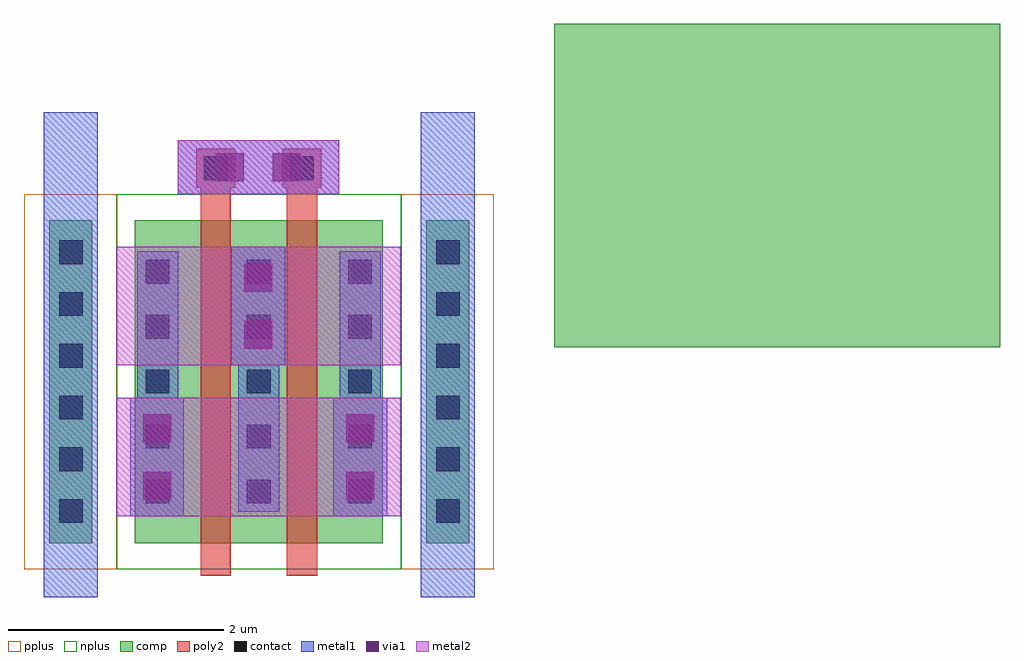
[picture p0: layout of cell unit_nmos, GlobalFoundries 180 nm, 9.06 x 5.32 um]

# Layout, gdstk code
from math import pi, radians
import gdstk
lib = gdstk.Library(unit=1e-6, precision=1e-09)
def R(c, l, rs):  # rectangles x0, y0, x1, y1
    for r in rs: c.add(gdstk.rectangle(r[:2], r[2:], *l))
def A(c, l, x, y, w, h, nx, ny, dx, dy):  # array of equal rectangles
    R(c, l, [(x+i*dx, y+j*dy, x+i*dx+w, y+j*dy+h) for i in range(nx) for j in range(ny)])
comp = (22, 0)
poly2 = (30, 0)
pplus = (31, 0)
nplus = (32, 0)
contact = (33, 0)
metal1 = (34, 0)
via1 = (35, 0)
metal2 = (36, 0)

via_dev_1 = lib.new_cell('via_dev$1')
R(via_dev_1, comp, [(0,0,3,0.4)])
A(via_dev_1, contact, 0.19, 0.09, 0.22, 0.22, 6, 1, 0.48, 0)
R(via_dev_1, metal1, [(0,0,3,0.4)])

via_dev_2 = lib.new_cell('via_dev$2')
R(via_dev_2, metal1, [(0,0,0.5,1.1)])
R(via_dev_2, via1, [(0.12,0.155,0.38,0.415), (0.12,0.685,0.38,0.945)])
R(via_dev_2, metal2, [(0,0,0.5,1.1)])

via_dev = lib.new_cell('via_dev')
R(via_dev, metal1, [(0,0,1.5,0.5)])
R(via_dev, via1, [(0.355,0.12,0.615,0.38), (0.885,0.12,1.145,0.38)])
R(via_dev, metal2, [(0,0,1.5,0.5)])

nfet = lib.new_cell('nfet')
R(nfet, comp, [(-0.42,0,0,3), (0,0,1.46,3), (1.46,0,1.88,3)])
R(nfet, poly2, [(0.19,-0.3,0.47,3.3), (0.99,-0.3,1.27,3.3), (0.15,3.3,0.51,3.66), (0.95,3.3,1.31,3.66)])
R(nfet, nplus, [(-0.59,-0.24,2.05,3.24)])
A(nfet, contact, -0.32, 0.37, 0.22, 0.22, 3, 5, 0.94, 0.51)
R(nfet, contact, [(0.22,3.37,0.44,3.59), (1.02,3.37,1.24,3.59)])
A(nfet, metal1, -0.4, 0.29, 0.38, 2.42, 3, 1, 0.94, 0)
R(nfet, metal1, [(0.14,3.289,0.52,3.671), (0.94,3.289,1.32,3.671)])

unit_nmos = lib.new_cell('unit_nmos')
R(unit_nmos, comp, [(2.735,1.82,6.875,4.82)])
R(unit_nmos, pplus, [(-2.185,-0.24,-1.325,3.24), (1.315,-0.24,2.175,3.24)])
unit_nmos.add(gdstk.FlexPath([(1.75,-0.5),(1.75,4)], 0.5, ends="flush", simple_path=True, layer=34, datatype=0))  # metal1
unit_nmos.add(gdstk.FlexPath([(-1.75,-0.5),(-1.75,4)], 0.5, ends="flush", simple_path=True, layer=34, datatype=0))  # metal1
unit_nmos.add(gdstk.FlexPath([(-1.33,0.8),(1.31,0.8)], 1.1, ends="flush", simple_path=True, layer=36, datatype=0))  # metal2
unit_nmos.add(gdstk.FlexPath([(-1.33,2.2),(1.31,2.2)], 1.1, ends="flush", simple_path=True, layer=36, datatype=0))  # metal2
unit_nmos.add(gdstk.Reference(via_dev_1, (-1.95,0), rotation=pi/2, x_reflection=True))
unit_nmos.add(gdstk.Reference(via_dev_1, (1.95,0), rotation=pi/2))
unit_nmos.add(gdstk.Reference(via_dev_2, (-1.2,0.25)))
unit_nmos.add(gdstk.Reference(via_dev_2, (-0.26,1.65)))
unit_nmos.add(gdstk.Reference(via_dev_2, (0.685,0.25)))
unit_nmos.add(gdstk.Reference(via_dev, (-0.76,3.24)))
unit_nmos.add(gdstk.Reference(nfet, (-0.735,0)))

lib.write_gds('unit_nmos.gds')
